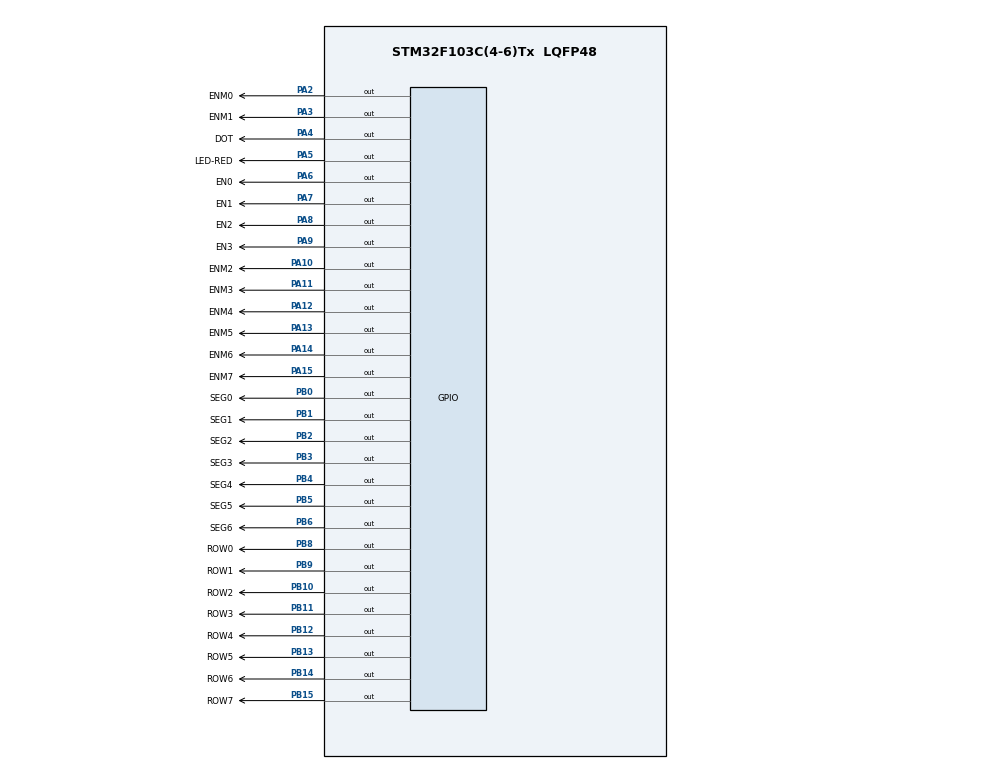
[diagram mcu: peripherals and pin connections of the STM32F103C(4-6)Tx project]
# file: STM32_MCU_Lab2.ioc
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Mcu.Family=STM32F1
Mcu.Name=STM32F103C(4-6)Tx
Mcu.Package=LQFP48
NVIC.PriorityGroup=NVIC_PRIORITYGROUP_4
NVIC.TIM2_IRQn=true\:0\:0\:false\:false\:true\:true\:true\:true
PA10.GPIO_Label=ENM2
PA10.Signal=GPIO_Output
PA11.GPIO_Label=ENM3
PA11.Signal=GPIO_Output
PA12.GPIO_Label=ENM4
PA12.Signal=GPIO_Output
PA13.GPIO_Label=ENM5
PA13.Signal=GPIO_Output
PA14.GPIO_Label=ENM6
PA14.Signal=GPIO_Output
PA15.GPIO_Label=ENM7
PA15.Signal=GPIO_Output
PA2.GPIO_Label=ENM0
PA2.Signal=GPIO_Output
PA3.GPIO_Label=ENM1
PA3.Signal=GPIO_Output
PA4.GPIO_Label=DOT
PA4.Signal=GPIO_Output
PA5.GPIO_Label=LED-RED
PA5.Signal=GPIO_Output
PA6.GPIO_Label=EN0
PA6.PinState=GPIO_PIN_RESET
PA6.Signal=GPIO_Output
PA7.GPIO_Label=EN1
PA7.PinState=GPIO_PIN_RESET
PA7.Signal=GPIO_Output
PA8.GPIO_Label=EN2
PA8.PinState=GPIO_PIN_RESET
PA8.Signal=GPIO_Output
PA9.GPIO_Label=EN3
PA9.PinState=GPIO_PIN_RESET
PA9.Signal=GPIO_Output
PB0.GPIO_Label=SEG0
PB0.Signal=GPIO_Output
PB1.GPIO_Label=SEG1
PB1.Signal=GPIO_Output
PB10.GPIO_Label=ROW2
PB10.Signal=GPIO_Output
PB11.GPIO_Label=ROW3
PB11.Signal=GPIO_Output
PB12.GPIO_Label=ROW4
PB12.Signal=GPIO_Output
PB13.GPIO_Label=ROW5
PB13.Signal=GPIO_Output
PB14.GPIO_Label=ROW6
PB14.Signal=GPIO_Output
PB15.GPIO_Label=ROW7
PB15.Signal=GPIO_Output
PB2.GPIO_Label=SEG2
PB2.Signal=GPIO_Output
PB3.GPIO_Label=SEG3
PB3.Signal=GPIO_Output
PB4.GPIO_Label=SEG4
PB4.Signal=GPIO_Output
PB5.GPIO_Label=SEG5
PB5.Signal=GPIO_Output
PB6.GPIO_Label=SEG6
PB6.Signal=GPIO_Output
PB8.GPIO_Label=ROW0
PB8.Signal=GPIO_Output
PB9.GPIO_Label=ROW1
PB9.Signal=GPIO_Output
ProjectManager.HeapSize=0x200
ProjectManager.StackSize=0x400
ProjectManager.TargetToolchain=STM32CubeIDE
RCC.APB1Freq_Value=8000000
RCC.APB2Freq_Value=8000000
TIM2.Period=9
TIM2.Prescaler=7999
VP_SYS_VS_ND.Mode=No_Debug
VP_TIM2_VS_ClockSourceINT.Mode=Internal
board=custom

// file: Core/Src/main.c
/* USER CODE BEGIN Header */
/**
  ******************************************************************************
  * @file           : main.c
  * @brief          : Main program body
  ******************************************************************************
  * @attention
  *
  * Copyright (c) 2024 STMicroelectronics.
  * All rights reserved.
  *
  * This software is licensed under terms that can be found in the LICENSE file
  * in the root directory of this software component.
  * If no LICENSE file comes with this software, it is provided AS-IS.
  *
  ******************************************************************************
  */
/* USER CODE END Header */
#include "main.h"

/* USER CODE BEGIN Includes */
#include "timer.h"
/* USER CODE END Includes */

TIM_HandleTypeDef htim2;

void SystemClock_Config(void);
static void MX_GPIO_Init(void);
static void MX_TIM2_Init(void);

/* USER CODE BEGIN 0 */
const int MAX_LED = 4;
int index_led = 0;
int led_buffer[4] = {2, 4, 5, 9};
int timer_1 = 0, flag_1 = 0;
int timer_2 = 0, flag_2 = 0;
int hour = 24, minute = 59, second = 50;
void display7SEG(int num){
	switch(num){
			case 0:
				HAL_GPIO_WritePin(SEG0_GPIO_Port,SEG0_Pin,RESET); //a
				HAL_GPIO_WritePin(SEG1_GPIO_Port,SEG1_Pin,RESET); //b
				HAL_GPIO_WritePin(SEG2_GPIO_Port,SEG2_Pin,RESET);//c
				HAL_GPIO_WritePin(SEG3_GPIO_Port,SEG3_Pin,RESET);//d
				HAL_GPIO_WritePin(SEG4_GPIO_Port,SEG4_Pin,RESET); //e
				HAL_GPIO_WritePin(SEG5_GPIO_Port,SEG5_Pin,RESET); //f
				HAL_GPIO_WritePin(SEG6_GPIO_Port,SEG6_Pin,SET); //g
				break;
			case 1:
				HAL_GPIO_WritePin(SEG0_GPIO_Port,SEG0_Pin,SET); //a
				HAL_GPIO_WritePin(SEG1_GPIO_Port,SEG1_Pin,RESET); //b
				HAL_GPIO_WritePin(SEG2_GPIO_Port,SEG2_Pin,RESET);//c
				HAL_GPIO_WritePin(SEG3_GPIO_Port,SEG3_Pin,SET);//d
				HAL_GPIO_WritePin(SEG4_GPIO_Port,SEG4_Pin,SET); //e
				HAL_GPIO_WritePin(SEG5_GPIO_Port,SEG5_Pin,SET); //f
				HAL_GPIO_WritePin(SEG6_GPIO_Port,SEG6_Pin,SET); //g
					break;
			case 2:
				HAL_GPIO_WritePin(SEG0_GPIO_Port,SEG0_Pin,RESET); //a
				HAL_GPIO_WritePin(SEG1_GPIO_Port,SEG1_Pin,RESET); //b
				HAL_GPIO_WritePin(SEG2_GPIO_Port,SEG2_Pin,SET);//c
				HAL_GPIO_WritePin(SEG3_GPIO_Port,SEG3_Pin,RESET);//d
				HAL_GPIO_WritePin(SEG4_GPIO_Port,SEG4_Pin,RESET); //e
				HAL_GPIO_WritePin(SEG5_GPIO_Port,SEG5_Pin,SET); //f
				HAL_GPIO_WritePin(SEG6_GPIO_Port,SEG6_Pin,RESET); //g
					break;
			case 3:
				HAL_GPIO_WritePin(SEG0_GPIO_Port,SEG0_Pin,RESET); //a
				HAL_GPIO_WritePin(SEG1_GPIO_Port,SEG1_Pin,RESET); //b
				HAL_GPIO_WritePin(SEG2_GPIO_Port,SEG2_Pin,RESET);//c
				HAL_GPIO_WritePin(SEG3_GPIO_Port,SEG3_Pin,RESET);//d
				HAL_GPIO_WritePin(SEG4_GPIO_Port,SEG4_Pin,SET); //e
				HAL_GPIO_WritePin(SEG5_GPIO_Port,SEG5_Pin,SET); //f
				HAL_GPIO_WritePin(SEG6_GPIO_Port,SEG6_Pin,RESET); //g
					break;
			case 4:
				HAL_GPIO_WritePin(SEG0_GPIO_Port,SEG0_Pin,SET); //a
				HAL_GPIO_WritePin(SEG1_GPIO_Port,SEG1_Pin,RESET); //b
				HAL_GPIO_WritePin(SEG2_GPIO_Port,SEG2_Pin,RESET);//c
				HAL_GPIO_WritePin(SEG3_GPIO_Port,SEG3_Pin,SET);//d
				HAL_GPIO_WritePin(SEG4_GPIO_Port,SEG4_Pin,SET); //e
				HAL_GPIO_WritePin(SEG5_GPIO_Port,SEG5_Pin,RESET); //f
				HAL_GPIO_WritePin(SEG6_GPIO_Port,SEG6_Pin,RESET); //g
					break;
			case 5:
				HAL_GPIO_WritePin(SEG0_GPIO_Port,SEG0_Pin,RESET); //a
				HAL_GPIO_WritePin(SEG1_GPIO_Port,SEG1_Pin,SET); //b
				HAL_GPIO_WritePin(SEG2_GPIO_Port,SEG2_Pin,RESET);//c
				HAL_GPIO_WritePin(SEG3_GPIO_Port,SEG3_Pin,RESET);//d
				HAL_GPIO_WritePin(SEG4_GPIO_Port,SEG4_Pin,SET); //e
				HAL_GPIO_WritePin(SEG5_GPIO_Port,SEG5_Pin,RESET); //f
				HAL_GPIO_WritePin(SEG6_GPIO_Port,SEG6_Pin,RESET); //g
					break;
			case 6:
				HAL_GPIO_WritePin(SEG0_GPIO_Port,SEG0_Pin,RESET); //a
				HAL_GPIO_WritePin(SEG1_GPIO_Port,SEG1_Pin,SET); //b
				HAL_GPIO_WritePin(SEG2_GPIO_Port,SEG2_Pin,RESET);//c
				HAL_GPIO_WritePin(SEG3_GPIO_Port,SEG3_Pin,RESET);//d
				HAL_GPIO_WritePin(SEG4_GPIO_Port,SEG4_Pin,RESET); //e
				HAL_GPIO_WritePin(SEG5_GPIO_Port,SEG5_Pin,RESET); //f
				HAL_GPIO_WritePin(SEG6_GPIO_Port,SEG6_Pin,RESET); //g
				break;
			case 7:
				HAL_GPIO_WritePin(SEG0_GPIO_Port,SEG0_Pin,RESET); //a
				HAL_GPIO_WritePin(SEG1_GPIO_Port,SEG1_Pin,RESET); //b
				HAL_GPIO_WritePin(SEG2_GPIO_Port,SEG2_Pin,RESET);//c
				HAL_GPIO_WritePin(SEG3_GPIO_Port,SEG3_Pin,SET);//d
				HAL_GPIO_WritePin(SEG4_GPIO_Port,SEG4_Pin,SET); //e
				HAL_GPIO_WritePin(SEG5_GPIO_Port,SEG5_Pin,SET); //f
				HAL_GPIO_WritePin(SEG6_GPIO_Port,SEG6_Pin,SET); //g
					break;
			case 8:
				HAL_GPIO_WritePin(SEG0_GPIO_Port,SEG0_Pin,RESET); //a
				HAL_GPIO_WritePin(SEG1_GPIO_Port,SEG1_Pin,RESET); //b
				HAL_GPIO_WritePin(SEG2_GPIO_Port,SEG2_Pin,RESET);//c
				HAL_GPIO_WritePin(SEG3_GPIO_Port,SEG3_Pin,RESET);//d
				HAL_GPIO_WritePin(SEG4_GPIO_Port,SEG4_Pin,RESET); //e
				HAL_GPIO_WritePin(SEG5_GPIO_Port,SEG5_Pin,RESET); //f
				HAL_GPIO_WritePin(SEG6_GPIO_Port,SEG6_Pin,RESET); //g
					break;
			case 9:
				HAL_GPIO_WritePin(SEG0_GPIO_Port,SEG0_Pin,RESET); //a
				HAL_GPIO_WritePin(SEG1_GPIO_Port,SEG1_Pin,RESET); //b
				HAL_GPIO_WritePin(SEG2_GPIO_Port,SEG2_Pin,RESET);//c
				HAL_GPIO_WritePin(SEG3_GPIO_Port,SEG3_Pin,RESET);//d
				HAL_GPIO_WritePin(SEG4_GPIO_Port,SEG4_Pin,SET); //e
				HAL_GPIO_WritePin(SEG5_GPIO_Port,SEG5_Pin,RESET); //f
				HAL_GPIO_WritePin(SEG6_GPIO_Port,SEG6_Pin,RESET); //g
					break;
			}
}
void update7SEG(int index){
	switch (index){
 	 case 0:
 //Display the first 7SEG with led_buffer[0]
 		 HAL_GPIO_WritePin(EN0_GPIO_Port,EN0_Pin,RESET);
 		 HAL_GPIO_WritePin(EN1_GPIO_Port,EN1_Pin,SET);
 		 HAL_GPIO_WritePin(EN2_GPIO_Port,EN2_Pin,SET);
 		 HAL_GPIO_WritePin(EN3_GPIO_Port,EN3_Pin,SET);
 		 break;
 	 case 1:
 //Display the second 7SEG with led_buffer[1]
 		HAL_GPIO_WritePin(EN0_GPIO_Port,EN0_Pin,SET);
 		HAL_GPIO_WritePin(EN1_GPIO_Port,EN1_Pin,RESET);
 		HAL_GPIO_WritePin(EN2_GPIO_Port,EN2_Pin,SET);
 		HAL_GPIO_WritePin(EN3_GPIO_Port,EN3_Pin,SET);

 		 break;
 	 case 2:
 //Display the third 7SEG with led_buffer[2]
 		HAL_GPIO_WritePin(EN0_GPIO_Port,EN0_Pin,SET);
 		HAL_GPIO_WritePin(EN1_GPIO_Port,EN1_Pin,SET);
 		HAL_GPIO_WritePin(EN2_GPIO_Port,EN2_Pin,RESET);
 		HAL_GPIO_WritePin(EN3_GPIO_Port,EN3_Pin,SET);
 		 break;
 	 case 3:
 //Display the forth 7SEG with led_buffer[3]
 		HAL_GPIO_WritePin(EN0_GPIO_Port,EN0_Pin,SET);
 		HAL_GPIO_WritePin(EN1_GPIO_Port,EN1_Pin,SET);
 		HAL_GPIO_WritePin(EN2_GPIO_Port,EN2_Pin,SET);
 		HAL_GPIO_WritePin(EN3_GPIO_Port,EN3_Pin,RESET);
 		 break;
 	 default:
 		 break;
	}
	display7SEG(led_buffer[index]);
}
void updateClockBuffer(){
	led_buffer[0] = hour/10;
	led_buffer[1] = hour%10;
	led_buffer[2] = minute/10;
	led_buffer[3] = minute%10;
}
/* USER CODE END 0 */

int main(void)
{

  /* MCU Configuration--------------------------------------------------------*/

  /* Reset of all peripherals, Initializes the Flash interface and the Systick. */
  HAL_Init();

  /* Configure the system clock */
  SystemClock_Config();

  /* Initialize all configured peripherals */
  MX_GPIO_Init();
  MX_TIM2_Init();
  /* USER CODE BEGIN 2 */
  setTimer1(50);
  setTimer2(30);
  HAL_TIM_Base_Start_IT(&htim2);
  /* USER CODE END 2 */

  /* Infinite loop */
  while (1)
  {

    /* USER CODE BEGIN 3 */
	  if(flag_1 == 1){
	  		  setTimer1(250);
	  		  update7SEG(index_led++);
	  		  index_led%=4;
	  }
	  if(flag_2 == 1){
		  	  setTimer2(1000);
		  	  second++;
		  	  if (second >= 60){
		  		  second = 0;
		  		  minute++;
		  	  }
		  	  if(minute >= 60){
		  		  minute = 0;
		  		  hour++;
		  	  }
		  	  if(hour >=24){
		  		  hour = 0;
		  	  }
		  	  updateClockBuffer();
		  	  HAL_GPIO_TogglePin(DOT_GPIO_Port, DOT_Pin);
	  }
  }
  /* USER CODE END 3 */
}

void SystemClock_Config(void)
{
  RCC_OscInitTypeDef RCC_OscInitStruct = {0};
  RCC_ClkInitTypeDef RCC_ClkInitStruct = {0};

  /** Initializes the RCC Oscillators according to the specified parameters
  * in the RCC_OscInitTypeDef structure.
  */
  RCC_OscInitStruct.OscillatorType = RCC_OSCILLATORTYPE_HSI;
  RCC_OscInitStruct.HSIState = RCC_HSI_ON;
  RCC_OscInitStruct.HSICalibrationValue = RCC_HSICALIBRATION_DEFAULT;
  RCC_OscInitStruct.PLL.PLLState = RCC_PLL_NONE;
  if (HAL_RCC_OscConfig(&RCC_OscInitStruct) != HAL_OK)
  {
    Error_Handler();
  }

  /** Initializes the CPU, AHB and APB buses clocks
  */
  RCC_ClkInitStruct.ClockType = RCC_CLOCKTYPE_HCLK|RCC_CLOCKTYPE_SYSCLK
                              |RCC_CLOCKTYPE_PCLK1|RCC_CLOCKTYPE_PCLK2;
  RCC_ClkInitStruct.SYSCLKSource = RCC_SYSCLKSOURCE_HSI;
  RCC_ClkInitStruct.AHBCLKDivider = RCC_SYSCLK_DIV1;
  RCC_ClkInitStruct.APB1CLKDivider = RCC_HCLK_DIV1;
  RCC_ClkInitStruct.APB2CLKDivider = RCC_HCLK_DIV1;

  if (HAL_RCC_ClockConfig(&RCC_ClkInitStruct, FLASH_LATENCY_0) != HAL_OK)
  {
    Error_Handler();
  }
}

static void MX_TIM2_Init(void)
{

  TIM_ClockConfigTypeDef sClockSourceConfig = {0};
  TIM_MasterConfigTypeDef sMasterConfig = {0};

  htim2.Instance = TIM2;
  htim2.Init.Prescaler = 7999;
  htim2.Init.CounterMode = TIM_COUNTERMODE_UP;
  htim2.Init.Period = 9;
  htim2.Init.ClockDivision = TIM_CLOCKDIVISION_DIV1;
  htim2.Init.AutoReloadPreload = TIM_AUTORELOAD_PRELOAD_DISABLE;
  if (HAL_TIM_Base_Init(&htim2) != HAL_OK)
  {
    Error_Handler();
  }
  sClockSourceConfig.ClockSource = TIM_CLOCKSOURCE_INTERNAL;
  if (HAL_TIM_ConfigClockSource(&htim2, &sClockSourceConfig) != HAL_OK)
  {
    Error_Handler();
  }
  sMasterConfig.MasterOutputTrigger = TIM_TRGO_RESET;
  sMasterConfig.MasterSlaveMode = TIM_MASTERSLAVEMODE_DISABLE;
  if (HAL_TIMEx_MasterConfigSynchronization(&htim2, &sMasterConfig) != HAL_OK)
  {
    Error_Handler();
  }

}

static void MX_GPIO_Init(void)
{
  GPIO_InitTypeDef GPIO_InitStruct = {0};

  /* GPIO Ports Clock Enable */
  __HAL_RCC_GPIOA_CLK_ENABLE();
  __HAL_RCC_GPIOB_CLK_ENABLE();

  /*Configure GPIO pin Output Level */
  HAL_GPIO_WritePin(GPIOA, DOT_Pin|LED_RED_Pin|EN0_Pin|EN1_Pin
                          |EN2_Pin|EN3_Pin, GPIO_PIN_RESET);

  /*Configure GPIO pin Output Level */
  HAL_GPIO_WritePin(GPIOB, SEG0_Pin|SEG1_Pin|SEG2_Pin|SEG3_Pin
                          |SEG4_Pin|SEG5_Pin|SEG6_Pin, GPIO_PIN_RESET);

  /*Configure GPIO pins : DOT_Pin LED_RED_Pin EN0_Pin EN1_Pin
                           EN2_Pin EN3_Pin */
  GPIO_InitStruct.Pin = DOT_Pin|LED_RED_Pin|EN0_Pin|EN1_Pin
                          |EN2_Pin|EN3_Pin;
  GPIO_InitStruct.Mode = GPIO_MODE_OUTPUT_PP;
  GPIO_InitStruct.Pull = GPIO_NOPULL;
  GPIO_InitStruct.Speed = GPIO_SPEED_FREQ_LOW;
  HAL_GPIO_Init(GPIOA, &GPIO_InitStruct);

  /*Configure GPIO pins : SEG0_Pin SEG1_Pin SEG2_Pin SEG3_Pin
                           SEG4_Pin SEG5_Pin SEG6_Pin */
  GPIO_InitStruct.Pin = SEG0_Pin|SEG1_Pin|SEG2_Pin|SEG3_Pin
                          |SEG4_Pin|SEG5_Pin|SEG6_Pin;
  GPIO_InitStruct.Mode = GPIO_MODE_OUTPUT_PP;
  GPIO_InitStruct.Pull = GPIO_NOPULL;
  GPIO_InitStruct.Speed = GPIO_SPEED_FREQ_LOW;
  HAL_GPIO_Init(GPIOB, &GPIO_InitStruct);

}

/* USER CODE BEGIN 4 */
void HAL_TIM_PeriodElapsedCallback(TIM_HandleTypeDef *htim){
	timer1Run();
	timer2Run();
}
/* USER CODE END 4 */

void Error_Handler(void)
{
  __disable_irq();
  while (1)
  {
  }
}
